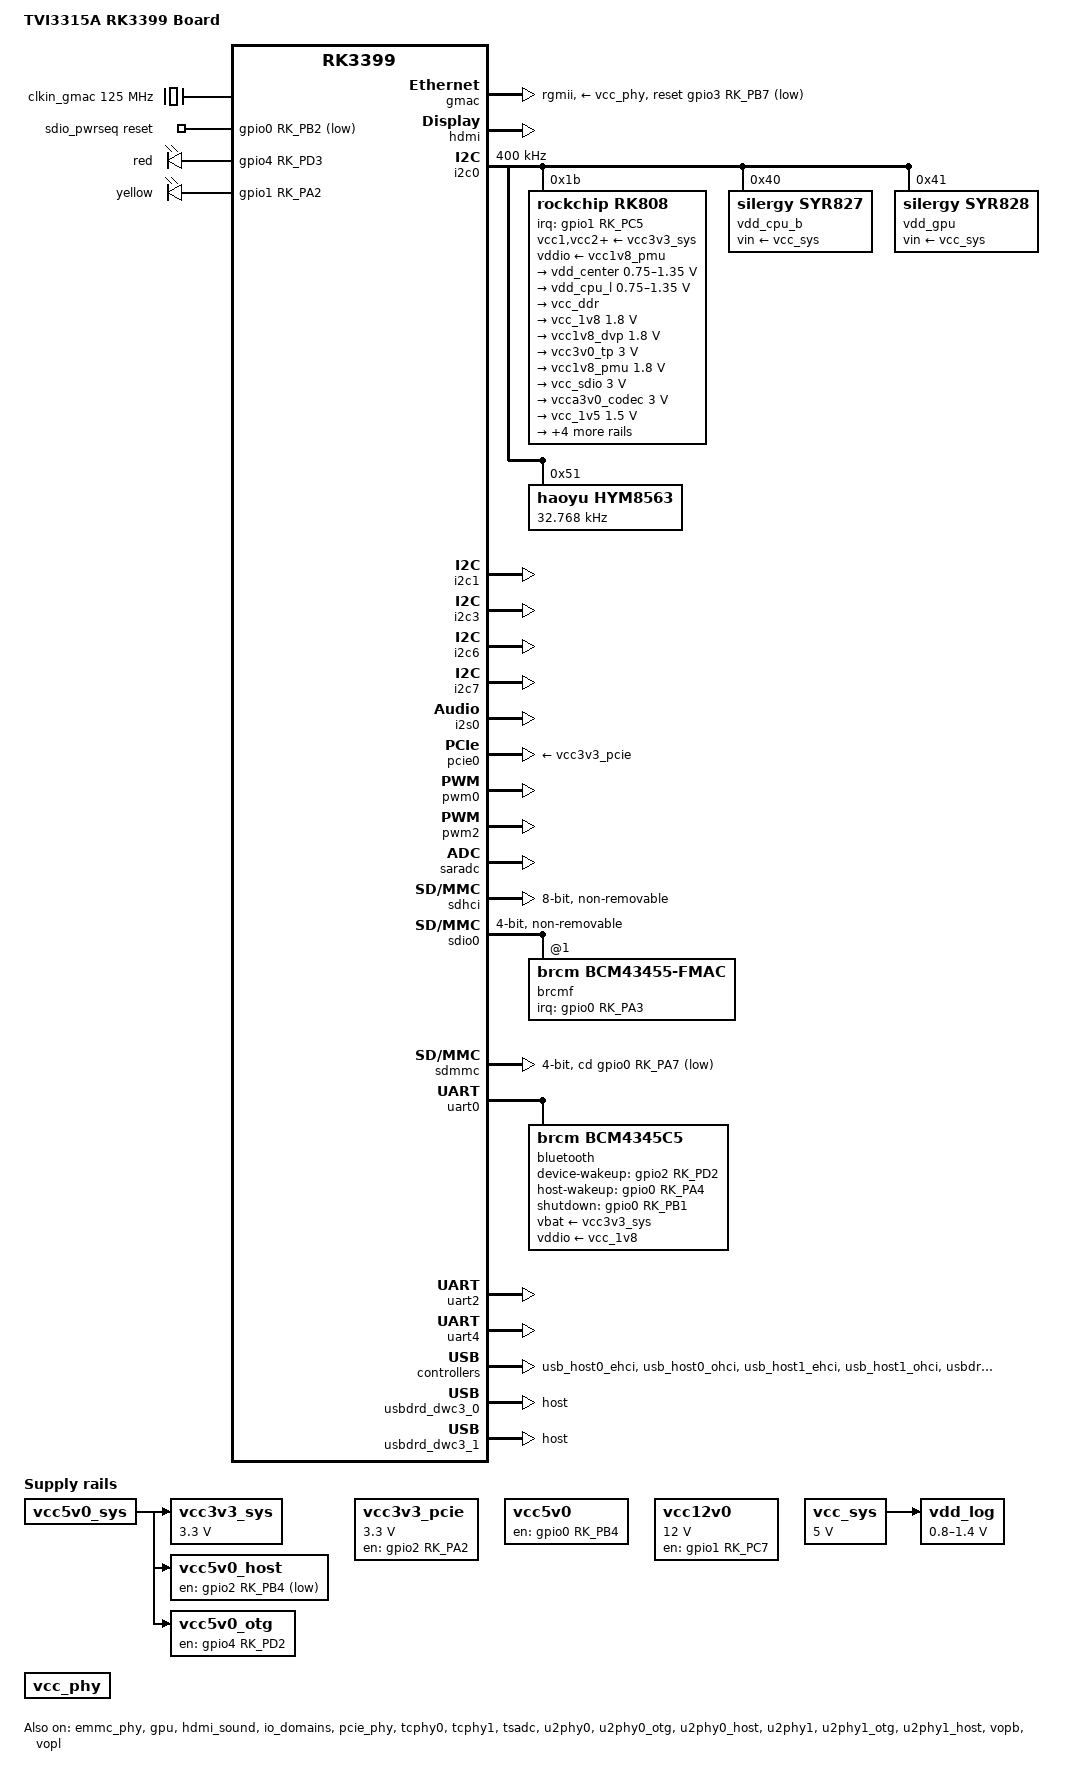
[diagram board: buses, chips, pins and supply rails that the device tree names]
// SPDX-License-Identifier: (GPL-2.0+ OR MIT)
/dts-v1/;

#include <dt-bindings/pwm/pwm.h>
#include <dt-bindings/input/input.h>
#include "rk3399.dtsi"
#include "rk3399-opp.dtsi"

/ {
	model = "TVI3315A RK3399 Board";
	compatible = "rockchip,rk3399-tvi3315a", "rockchip,rk3399";

	aliases {
		mmc0 = &sdio0;
		mmc1 = &sdmmc;
		mmc2 = &sdhci;
	};

	chosen {
		stdout-path = "serial2:1500000n8";
	};

	backlight: backlight {
		status = "disabled";
		compatible = "pwm-backlight";
		brightness-levels = <
			  0   1   2   3   4   5   6   7
			  8   9  10  11  12  13  14  15
			 16  17  18  19  20  21  22  23
			 24  25  26  27  28  29  30  31
			 32  33  34  35  36  37  38  39
			 40  41  42  43  44  45  46  47
			 48  49  50  51  52  53  54  55
			 56  57  58  59  60  61  62  63
			 64  65  66  67  68  69  70  71
			 72  73  74  75  76  77  78  79
			 80  81  82  83  84  85  86  87
			 88  89  90  91  92  93  94  95
			 96  97  98  99 100 101 102 103
			104 105 106 107 108 109 110 111
			112 113 114 115 116 117 118 119
			120 121 122 123 124 125 126 127
			128 129 130 131 132 133 134 135
			136 137 138 139 140 141 142 143
			144 145 146 147 148 149 150 151
			152 153 154 155 156 157 158 159
			160 161 162 163 164 165 166 167
			168 169 170 171 172 173 174 175
			176 177 178 179 180 181 182 183
			184 185 186 187 188 189 190 191
			192 193 194 195 196 197 198 199
			200 201 202 203 204 205 206 207
			208 209 210 211 212 213 214 215
			216 217 218 219 220 221 222 223
			224 225 226 227 228 229 230 231
			232 233 234 235 236 237 238 239
			240 241 242 243 244 245 246 247
			248 249 250 251 252 253 254 255>;
		default-brightness-level = <200>;
		enable-gpios = <&gpio4 RK_PC6 GPIO_ACTIVE_HIGH>; // bsp
		pwms = <&pwm0 0 25000 0>;
	};

	clkin_gmac: external-gmac-clock {
		compatible = "fixed-clock";
		clock-frequency = <125000000>;
		clock-output-names = "clkin_gmac";
		#clock-cells = <0>;
	};

	sdio_pwrseq: sdio-pwrseq {
		compatible = "mmc-pwrseq-simple";
		clocks = <&rk808 1>;
		clock-names = "ext_clock";
		pinctrl-names = "default";
		pinctrl-0 = <&wifi_reg_on_h>;

		/*
		 * On the module itself this is one of these (depending
		 * on the actual card populated):
		 * - SDIO_RESET_L_WL_REG_ON
		 * - PDN (power down when low)
		 */
		reset-gpios = <&gpio0 RK_PB2 GPIO_ACTIVE_LOW>; // bsp
	};

	vcc3v3_pcie: vcc3v3-pcie-regulator {
		compatible = "regulator-fixed";
		enable-active-high;
		gpio = <&gpio2 RK_PA2 GPIO_ACTIVE_HIGH>; // bsp 66
		pinctrl-names = "default";
		pinctrl-0 = <&pcie_drv>;
		regulator-name = "vcc3v3_pcie";
		regulator-min-microvolt = <3300000>;
		regulator-max-microvolt = <3300000>;
	};

	vcc3v3_sys: vcc3v3-sys { // bsp
		compatible = "regulator-fixed";
		regulator-name = "vcc3v3_sys";
		regulator-always-on;
		regulator-boot-on;
		regulator-min-microvolt = <3300000>;
		regulator-max-microvolt = <3300000>;
		vin-supply = <&vcc5v0_sys>;
	};

	vcc5v0_host: vcc5v0-host-regulator {
		compatible = "regulator-fixed";
		gpio = <&gpio2 RK_PB4 GPIO_ACTIVE_LOW>; // bsp 76
		pinctrl-names = "default";
		pinctrl-0 = <&vcc5v0_host_en>;
		regulator-name = "vcc5v0_host";
		vin-supply = <&vcc5v0_sys>;
	};

	vcc5v0_otg: vcc5v0-otg-regulator {
		compatible = "regulator-fixed";
		enable-active-high;
		gpio = <&gpio4 RK_PD2 GPIO_ACTIVE_HIGH>; // bsp 154
		pinctrl-names = "default";
		pinctrl-0 = <&vcc5v0_otg_en>;
		regulator-name = "vcc5v0_otg";
		// regulator-always-on;
		vin-supply = <&vcc5v0_sys>;
	};

	vcc5v0: vcc5v0-regulator {
		compatible = "regulator-fixed";
		enable-active-high;
		gpio = <&gpio0 RK_PB4 GPIO_ACTIVE_HIGH>; // bsp 12
		pinctrl-names = "default";
		pinctrl-0 = <&vcc5v0_en>;
		regulator-name = "vcc5v0";
		regulator-always-on;
	};

	vcc12v0: vcc12v0-regulator {
		compatible = "regulator-fixed";
		enable-active-high;
		gpio = <&gpio1 RK_PC7 GPIO_ACTIVE_HIGH>; // bsp 55
		pinctrl-names = "default";
		pinctrl-0 = <&vcc12v0_en>;
		regulator-name = "vcc12v0";
		regulator-min-microvolt = <12000000>;
		regulator-max-microvolt = <12000000>;
		regulator-always-on;
	};

	vcc_sys: vcc5v0_sys: vcc5v0-sys {
		compatible = "regulator-fixed";
		regulator-name = "vcc5v0_sys";
		regulator-always-on;
		regulator-boot-on;
		regulator-min-microvolt = <5000000>; // bsp 3900000
		regulator-max-microvolt = <5000000>; // bsp 3900000
	};

	vdd_log: vdd-log { // bsp
		compatible = "pwm-regulator";
		pwms = <&pwm2 0 25000 1>;
		pwm-supply = <&vcc_sys>;
		regulator-name = "vdd_log";
		regulator-always-on;
		regulator-boot-on;
		regulator-min-microvolt = <800000>;
		regulator-max-microvolt = <1400000>;
	};

	vcc_phy: vcc-phy-regulator {
		compatible = "regulator-fixed";
		regulator-name = "vcc_phy";
		regulator-always-on;
		regulator-boot-on;
	};

	leds {
		compatible = "gpio-leds";
		pinctrl-names = "default";
		pinctrl-0 = <&red_pin>, <&yellow_pin>;

		red_led: red-led {
			label = "red";
			default-state = "off";
			gpios = <&gpio4 RK_PD3 GPIO_ACTIVE_HIGH>; // bsp 155
		};
		yellow_led: yellow-led {
			label = "yellow";
			default-state = "off";
			gpios = <&gpio1 RK_PA2 GPIO_ACTIVE_HIGH>; // bsp 34
		};
	};

	/* Audio components */
	es8316-sound {
		status = "disabled";
		compatible = "simple-audio-card";
		pinctrl-names = "default";
		pinctrl-0 = <&hp_det_pin>;
		simple-audio-card,name = "rockchip,es8316-codec";
		simple-audio-card,format = "i2s";
		simple-audio-card,mclk-fs = <256>;

		simple-audio-card,widgets =
			"Microphone", "Mic Jack",
			"Headphone", "Headphones",
			"Speaker", "Speaker";
		simple-audio-card,routing =
			"MIC1", "Mic Jack",
			"Headphones", "HPOL",
			"Headphones", "HPOR",
			"Speaker Amplifier INL", "HPOL",
			"Speaker Amplifier INR", "HPOR",
			"Speaker", "Speaker Amplifier OUTL",
			"Speaker", "Speaker Amplifier OUTR";

		simple-audio-card,hp-det-gpio = <&gpio0 RK_PB3 GPIO_ACTIVE_HIGH>;
		// simple-audio-card,aux-devs = <&speaker_amp>;
		// simple-audio-card,pin-switches = "Speaker";

		simple-audio-card,cpu {
			sound-dai = <&i2s1>;
		};

		simple-audio-card,codec {
			sound-dai = <&es8316>;
		};
	};
};

&cpu_l0 {
	cpu-supply = <&vdd_cpu_l>;
};

&cpu_l1 {
	cpu-supply = <&vdd_cpu_l>;
};

&cpu_l2 {
	cpu-supply = <&vdd_cpu_l>;
};

&cpu_l3 {
	cpu-supply = <&vdd_cpu_l>;
};

&cpu_b0 {
	cpu-supply = <&vdd_cpu_b>;
};

&cpu_b1 {
	cpu-supply = <&vdd_cpu_b>;
};

&emmc_phy {
	status = "okay";
};

/*
&gmac {
	assigned-clocks = <&cru SCLK_RMII_SRC>;
	assigned-clock-parents = <&clkin_gmac>;
	clock_in_out = "input";
	phy-supply = <&vcc_phy>;
	phy-mode = "rgmii";
	phy-handle = <&rtl8211e>;
	pinctrl-names = "default";
	pinctrl-0 = <&rgmii_pins>, <&phy_intb>, <&phy_rstb>;
	tx_delay = <0x28>;
	rx_delay = <0x11>;
	status = "okay";

	mdio {
		compatible = "snps,dwmac-mdio";
		#address-cells = <1>;
		#size-cells = <0>;

		rtl8211e: ethernet-phy@1 {
			reg = <1>;
			interrupt-parent = <&gpio3>;
			interrupts = <RK_PB2 IRQ_TYPE_LEVEL_LOW>;
			reset-assert-us = <10000>;
			reset-deassert-us = <30000>;
			reset-gpios = <&gpio3 RK_PB7 GPIO_ACTIVE_LOW>;
		};
	};
};
*/

&gmac {
	assigned-clocks = <&cru SCLK_RMII_SRC>;
	assigned-clock-parents = <&clkin_gmac>;
	clock_in_out = "input";
	phy-supply = <&vcc_phy>;
	phy-mode = "rgmii";
	pinctrl-names = "default";
	pinctrl-0 = <&rgmii_pins>;
	snps,reset-gpio = <&gpio3 RK_PB7 GPIO_ACTIVE_LOW>; // bsp
	snps,reset-active-low;
	snps,reset-delays-us = <0 10000 50000>;
	tx_delay = <0x2a>;
	rx_delay = <0x21>;
	status = "okay";
};

&gpu {
	mali-supply = <&vdd_gpu>;
	status = "okay";
};

&hdmi {
	ddc-i2c-bus = <&i2c3>;
	status = "okay";
};

&hdmi_sound {
	status = "okay";
};

&i2c0 {
	clock-frequency = <400000>;
	i2c-scl-rising-time-ns = <180>;
	i2c-scl-falling-time-ns = <30>;
	status = "okay";

	rk808: pmic@1b {
		compatible = "rockchip,rk808";
		reg = <0x1b>;
		interrupt-parent = <&gpio1>; // bsp
		interrupts = <RK_PC5 IRQ_TYPE_LEVEL_LOW>; // bsp
		#clock-cells = <1>;
		clock-output-names = "xin32k", "rk808-clkout2";
		pinctrl-names = "default";
		pinctrl-0 = <&pmic_int_l>;
		rockchip,system-power-controller;
		wakeup-source;

		vcc1-supply = <&vcc3v3_sys>;
		vcc2-supply = <&vcc3v3_sys>;
		vcc3-supply = <&vcc3v3_sys>;
		vcc4-supply = <&vcc3v3_sys>;
		vcc6-supply = <&vcc3v3_sys>;
		vcc7-supply = <&vcc3v3_sys>;
		vcc8-supply = <&vcc3v3_sys>;
		vcc9-supply = <&vcc3v3_sys>;
		vcc10-supply = <&vcc3v3_sys>;
		vcc11-supply = <&vcc3v3_sys>;
		vcc12-supply = <&vcc3v3_sys>;
		vddio-supply = <&vcc1v8_pmu>;

		regulators {
			vdd_center: DCDC_REG1 {
				regulator-name = "vdd_center";
				regulator-always-on;
				regulator-boot-on;
				regulator-min-microvolt = <750000>;
				regulator-max-microvolt = <1350000>;
				regulator-ramp-delay = <6001>;
				regulator-state-mem {
					regulator-off-in-suspend;
				};
			};

			vdd_cpu_l: DCDC_REG2 {
				regulator-name = "vdd_cpu_l";
				regulator-always-on;
				regulator-boot-on;
				regulator-min-microvolt = <750000>;
				regulator-max-microvolt = <1350000>;
				regulator-ramp-delay = <6001>;
				regulator-state-mem {
					regulator-on-in-suspend;
				};
			};

			vcc_ddr: DCDC_REG3 {
				regulator-name = "vcc_ddr";
				regulator-always-on;
				regulator-boot-on;
				regulator-state-mem {
					regulator-on-in-suspend;
				};
			};

			vcc_1v8: DCDC_REG4 {
				regulator-name = "vcc_1v8";
				regulator-always-on;
				regulator-boot-on;
				regulator-min-microvolt = <1800000>;
				regulator-max-microvolt = <1800000>;
				regulator-state-mem {
					regulator-on-in-suspend;
					regulator-suspend-microvolt = <1800000>;
				};
			};

			vcc1v8_dvp: LDO_REG1 {
				regulator-name = "vcc1v8_dvp";
				regulator-always-on;
				regulator-boot-on;
				regulator-min-microvolt = <1800000>;
				regulator-max-microvolt = <1800000>;
				regulator-state-mem {
					regulator-off-in-suspend;
				};
			};

			vcc3v0_tp: LDO_REG2 {
				regulator-name = "vcc3v0_tp";
				regulator-always-on;
				regulator-boot-on;
				regulator-min-microvolt = <3000000>;
				regulator-max-microvolt = <3000000>;
				regulator-state-mem {
					regulator-off-in-suspend;
				};
			};

			vcc1v8_pmu: LDO_REG3 {
				regulator-name = "vcc1v8_pmu";
				regulator-always-on;
				regulator-boot-on;
				regulator-min-microvolt = <1800000>;
				regulator-max-microvolt = <1800000>;
				regulator-state-mem {
					regulator-on-in-suspend;
					regulator-suspend-microvolt = <1800000>;
				};
			};

			vcc_sdio: LDO_REG4 {
				regulator-name = "vcc_sdio";
				regulator-always-on;
				regulator-boot-on;
				regulator-min-microvolt = <3000000>;
				regulator-max-microvolt = <3000000>;
				regulator-state-mem {
					regulator-on-in-suspend;
					regulator-suspend-microvolt = <3000000>;
				};
			};

			vcca3v0_codec: LDO_REG5 {
				regulator-name = "vcca3v0_codec";
				regulator-always-on;
				regulator-boot-on;
				regulator-min-microvolt = <3000000>;
				regulator-max-microvolt = <3000000>;
				regulator-state-mem {
					regulator-off-in-suspend;
				};
			};

			vcc_1v5: LDO_REG6 {
				regulator-name = "vcc_1v5";
				regulator-always-on;
				regulator-boot-on;
				regulator-min-microvolt = <1500000>;
				regulator-max-microvolt = <1500000>;
				regulator-state-mem {
					regulator-on-in-suspend;
					regulator-suspend-microvolt = <1500000>;
				};
			};

			vcca1v8_codec: LDO_REG7 {
				regulator-name = "vcca1v8_codec";
				regulator-always-on;
				regulator-boot-on;
				regulator-min-microvolt = <1800000>;
				regulator-max-microvolt = <1800000>;
				regulator-state-mem {
					regulator-off-in-suspend;
				};
			};

			vcc_3v0: LDO_REG8 {
				regulator-name = "vcc_3v0";
				regulator-always-on;
				regulator-boot-on;
				regulator-min-microvolt = <3000000>;
				regulator-max-microvolt = <3000000>;
				regulator-state-mem {
					regulator-on-in-suspend;
					regulator-suspend-microvolt = <3000000>;
				};
			};

			vcc3v3_s3: SWITCH_REG1 {
				regulator-name = "vcc3v3_s3";
				regulator-always-on;
				regulator-boot-on;
				regulator-state-mem {
					regulator-off-in-suspend;
				};
			};

			vcc3v3_s0: SWITCH_REG2 {
				regulator-name = "vcc3v3_s0";
				regulator-always-on;
				regulator-boot-on;
				regulator-state-mem {
					regulator-on-in-suspend;
				};
			};
		};
	};

	vdd_cpu_b: regulator@40 {
		compatible = "silergy,syr827";
		reg = <0x40>;
		fcs,suspend-voltage-selector = <1>;
		pinctrl-names = "default";
		pinctrl-0 = <&cpu_b_sleep>;
		regulator-name = "vdd_cpu_b";
		regulator-min-microvolt = <712500>;
		regulator-max-microvolt = <1500000>;
		regulator-ramp-delay = <1000>;
		regulator-always-on;
		regulator-boot-on;
		vin-supply = <&vcc_sys>;

		regulator-state-mem {
			regulator-off-in-suspend;
		};
	};

	vdd_gpu: regulator@41 {
		compatible = "silergy,syr828";
		reg = <0x41>;
		fcs,suspend-voltage-selector = <1>;
		pinctrl-names = "default";
		pinctrl-0 = <&gpu_sleep>;
		regulator-name = "vdd_gpu";
		regulator-min-microvolt = <712500>;
		regulator-max-microvolt = <1500000>;
		regulator-ramp-delay = <1000>;
		regulator-always-on;
		regulator-boot-on;
		vin-supply = <&vcc_sys>;

		regulator-state-mem {
			regulator-off-in-suspend;
		};
	};

	// RTC
	hym8563: hym8563@51 {
		compatible = "haoyu,hym8563";
		reg = <0x51>;
		#clock-cells = <0>;
		clock-frequency = <32768>;
		clock-output-names = "xin32k";
	};

};

// es8316
&i2c1 {
	i2c-scl-falling-time-ns = <30>;
	i2c-scl-rising-time-ns = <140>;
	status = "okay";

	es8316: es8316@11 {
		status = "disabled";
		compatible = "everest,es8316";
		reg = <0x11>;
		clocks = <&cru SCLK_I2S_8CH_OUT>;
		clock-names = "mclk";
		#sound-dai-cells = <0>;
	};
};

// Used for HDMI
&i2c3 {
	i2c-scl-rising-time-ns = <450>;
	i2c-scl-falling-time-ns = <15>;
	status = "okay";
};

&i2c6 {
	i2c-scl-rising-time-ns = <450>;
	i2c-scl-falling-time-ns = <15>;
	status = "okay";
};

&i2c7 {
	i2c-scl-rising-time-ns = <450>;
	i2c-scl-falling-time-ns = <15>;
	status = "okay";
};

// es8316
&i2s0 {
	pinctrl-names = "default";
	// pinctrl-0 = <&i2s_8ch_mclk_pin>, <&i2s1_2ch_bus>;
	rockchip,capture-channels = <8>;
	rockchip,playback-channels = <8>;
	status = "okay";
};

&io_domains {
	status = "okay";
	bt656-supply = <&vcc1v8_dvp>;
	audio-supply = <&vcca1v8_codec>;
	sdmmc-supply = <&vcc_sdio>;
	gpio1830-supply = <&vcc_3v0>;
};

&pmu_io_domains {
	status = "okay";
	pmu1830-supply = <&vcc_3v0>;
};

&pcie_phy {
	status = "okay";
};

// USIM_RST <&gpio1 RK_PB2 GPIO_ACTIVE_HIGH>; // bsp 42
&pcie0 {
	status = "okay";
	vpcie3v3-supply = <&vcc3v3_pcie>;
};

&pinctrl {
	gmac {
		phy_intb: phy-intb {
			rockchip,pins = <3 RK_PB2 RK_FUNC_GPIO &pcfg_pull_up>;
		};

		phy_rstb: phy-rstb {
			rockchip,pins = <3 RK_PB7 RK_FUNC_GPIO &pcfg_pull_none>;
		};
	};

	pmic {
		cpu_b_sleep: cpu-b-sleep {
			rockchip,pins = <1 RK_PC1 RK_FUNC_GPIO &pcfg_pull_down>;
		};

		gpu_sleep: gpu-sleep {
			rockchip,pins = <1 RK_PB6 RK_FUNC_GPIO &pcfg_pull_down>;
		};

		pmic_int_l: pmic-int-l {
			rockchip,pins = <1 RK_PC5 RK_FUNC_GPIO &pcfg_pull_up>; // bsp
		};

		pmic_dvs2: pmic-dvs2 {
			rockchip,pins = <1 RK_PC2 RK_FUNC_GPIO &pcfg_pull_down>; // bsp
		};
	};

	usb2 {
		vcc5v0_host_en: vcc5v0-host-en {
			rockchip,pins = <2 RK_PB4 RK_FUNC_GPIO &pcfg_pull_none>; // bsp
		};
		vcc5v0_otg_en: vcc5v0-otg-en {
			rockchip,pins = <4 RK_PD2 RK_FUNC_GPIO &pcfg_pull_none>; // bsp
		};
	};

	sdio-pwrseq {
		wifi_reg_on_h: wifi-reg-on-h {
			rockchip,pins = <0 RK_PB2 RK_FUNC_GPIO &pcfg_pull_none>; // bsp
		};
	};

	wifi {
		wifi_host_wake_l: wifi-host-wake-l {
			rockchip,pins = <0 RK_PA3 RK_FUNC_GPIO &pcfg_pull_none>;  // bsp
		};
	};

	bluetooth {
		bt_reg_on_h: bt-enable-h {
			rockchip,pins = <0 RK_PB1 RK_FUNC_GPIO &pcfg_pull_none>; // bsp
		};
		bt_host_wake_l: bt-host-wake-l {
			rockchip,pins = <0 RK_PA4 RK_FUNC_GPIO &pcfg_pull_none>; // bsp
		};
		bt_wake_l: bt-wake-l {
			rockchip,pins = <2 RK_PD2 RK_FUNC_GPIO &pcfg_pull_none>; // bsp
		};
	};


	leds {
		red_pin: red-pin {
			rockchip,pins = <4 RK_PD3 RK_FUNC_GPIO &pcfg_pull_none>; // bsp
		};
		yellow_pin: yellow-pin {
			rockchip,pins = <1 RK_PA2 RK_FUNC_GPIO &pcfg_pull_none>; // bsp
		};
	};

	pcie {
		pcie_drv: pcie-drv {
			rockchip,pins = <2 RK_PA2 RK_FUNC_GPIO &pcfg_pull_none>; // bsp
		};
		pcie_usim_rst: pcie-usim-rst {
			rockchip,pins = <1 RK_PB2 RK_FUNC_GPIO &pcfg_pull_none>; // bsp
		};
	};

	power {
		vcc5v0_en: vcc5v0-en {
			rockchip,pins = <0 RK_PB4 RK_FUNC_GPIO &pcfg_pull_none>; // bsp
		};
		vcc12v0_en: vcc12v0-en {
			rockchip,pins = <1 RK_PC7 RK_FUNC_GPIO &pcfg_pull_none>; // bsp
		};
		sata_pwr: sata-pwr {
			rockchip,pins = <1 RK_PC4 RK_FUNC_GPIO &pcfg_pull_none>; // bsp
		};
	};

	lcd {
		lcd_bl_en: lcd-bl-en {
			rockchip,pins = <4 RK_PC6 RK_FUNC_GPIO &pcfg_pull_none>; // bsp
		};
	};

	es8316 {
		hp_det_pin: hp-det-pin {
			rockchip,pins = <0 RK_PB3 RK_FUNC_GPIO &pcfg_pull_up>; // bsp
		};
	};

	misc {
		vibrator_gpio: vibrator-gpio {
			rockchip,pins = <4 RK_PD6 RK_FUNC_GPIO &pcfg_pull_up>; // bsp
		};
	};
};

&pwm0 {
	status = "okay";
};

&pwm2 {
	status = "okay";
};

&saradc {
	status = "okay";
};

&sdhci {
	bus-width = <8>;
	mmc-hs400-1_8v;
	mmc-hs400-enhanced-strobe;
	keep-power-in-suspend;
	non-removable;
	status = "okay";
};

&sdio0 {
	bus-width = <4>;
	cap-sd-highspeed;
	cap-sdio-irq;
	clock-frequency = <50000000>;
	disable-wp;
	keep-power-in-suspend;
	max-frequency = <50000000>;
	mmc-pwrseq = <&sdio_pwrseq>;
	non-removable;
	pinctrl-names = "default";
	pinctrl-0 = <&sdio0_bus4 &sdio0_cmd &sdio0_clk>;
	sd-uhs-sdr104;
	#address-cells = <1>;
	#size-cells = <0>;
	status = "okay";

	brcmf: wifi@1 {
		reg = <1>;
		compatible = "brcm,bcm43455-fmac";
		// compatible = "brcm,bcm4329-fmac";
		interrupt-parent = <&gpio0>;
		interrupts = <RK_PA3 GPIO_ACTIVE_HIGH>; // bsp
		interrupt-names = "host-wake";
		pinctrl-names = "default";
		pinctrl-0 = <&wifi_host_wake_l>;
	};
};

&sdmmc {
	bus-width = <4>;
	cap-mmc-highspeed;
	cap-sd-highspeed;
	cd-gpios = <&gpio0 RK_PA7 GPIO_ACTIVE_LOW>; // bsp
	clock-frequency = <150000000>;
	disable-wp;
	sd-uhs-sdr104;
	max-frequency = <150000000>;
	pinctrl-names = "default";
	pinctrl-0 = <&sdmmc_clk &sdmmc_cmd &sdmmc_cd &sdmmc_bus4>;
	vqmmc-supply = <&vcc_sdio>;
	status = "okay";
};

&tcphy0 {
	status = "okay";
};

&tcphy1 {
	status = "okay";
};

&tsadc {
	/* tshut mode 0:CRU 1:GPIO */
	rockchip,hw-tshut-mode = <1>;
	/* tshut polarity 0:LOW 1:HIGH */
	rockchip,hw-tshut-polarity = <1>;
	status = "okay";
};

&u2phy0 {
	status = "okay";
};
&u2phy0_otg {
	phy-supply = <&vcc5v0_otg>;
	status = "okay";
};
&u2phy0_host {
	phy-supply = <&vcc5v0_host>;
	status = "okay";
};

&u2phy1 {
	status = "okay";
};
&u2phy1_otg {
	phy-supply = <&vcc5v0_otg>;
	status = "okay";
};
&u2phy1_host {
	phy-supply = <&vcc5v0_host>;
	status = "okay";
};

&uart0 {
	pinctrl-names = "default";
	pinctrl-0 = <&uart0_xfer &uart0_cts &uart0_rts>;
	status = "okay";

	bluetooth {
		// compatible = "brcm,bcm43438-bt";
		// max-speed = < 1500000 >;
		compatible = "brcm,bcm4345c5";
		clocks = <&rk808 1>;
		clock-names = "ext_clock";
		device-wakeup-gpios = <&gpio2 RK_PD2 GPIO_ACTIVE_HIGH>;  // bsp
		host-wakeup-gpios = <&gpio0 RK_PA4 GPIO_ACTIVE_HIGH>;  // bsp
		shutdown-gpios = <&gpio0 RK_PB1 GPIO_ACTIVE_HIGH>; // bsp
		pinctrl-names = "default";
		pinctrl-0 = <&bt_host_wake_l &bt_wake_l &bt_reg_on_h>;
		vbat-supply = <&vcc3v3_sys>;
		vddio-supply = <&vcc_1v8>;
	};
};

// Debug TTL
&uart2 {
	status = "okay";
};

&uart4 {
	status = "okay";
};

&usb_host0_ehci {
	status = "okay";
};

&usb_host0_ohci {
	status = "okay";
};

&usb_host1_ehci {
	status = "okay";
};

&usb_host1_ohci {
	status = "okay";
};

&usbdrd3_0 {
	status = "okay";
};

&usbdrd_dwc3_0 {
	status = "okay";
	dr_mode = "host";
};

&usbdrd3_1 {
	status = "okay";
};

&usbdrd_dwc3_1 {
	status = "okay";
	dr_mode = "host";
};

&vopb {
	status = "okay";
};

&vopb_mmu {
	status = "okay";
};

&vopl {
	status = "okay";
};

&vopl_mmu {
	status = "okay";
};
